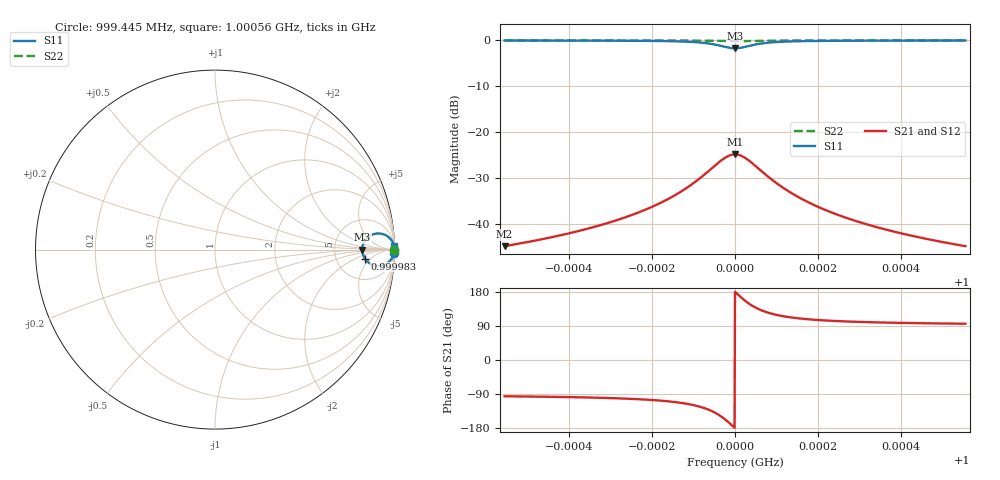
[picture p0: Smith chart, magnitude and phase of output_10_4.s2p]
! File generated for n1 = 10, n2 = 4
! b1 = 0.100000
! b2 = 0.010000
! Q0 = 10000.000000
! f0 = 1000000000.000000
! n = 1001
! rel_span = 10.000000
# Hz S RI R 50
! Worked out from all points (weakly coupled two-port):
!   1001 points, 999.445 MHz to 1.00056 GHz, reference 50 ohm
!   highest |S21| = -24.89 dB at 1 GHz (marker M1); lowest = -44.9 dB at 999.445 MHz (marker M2)
!   lowest |S11| = -1.7 dB at 1 GHz (marker M3), VSWR 10.10, Z = 505 + j0 ohm
!   |S11| at or under -10 dB: nowhere
!   |S22| runs from -0.2 to 0.0 dB; largest |S21 - S12| = 0
!   S11 on the Smith chart (normalised r, x): 999.445 MHz: open; 999.983 MHz: 10, -3; 1.00056 GHz: open
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9.99445e8  0.9982 -0.0178  -0.000564 -0.00564  -0.000564 -0.00564  0.9998 -0.00178
9.995405e8  0.9974 -0.0214  -0.000819 -0.00678  -0.000819 -0.00678  0.9997 -0.00214
9.996304e8  0.996 -0.0265  -0.00126 -0.00837  -0.00126 -0.00837  0.9996 -0.00265
9.997325e8  0.9926 -0.0358  -0.00235 -0.0113  -0.00235 -0.0113  0.9993 -0.00358
9.998157e8  0.985 -0.0498  -0.00474 -0.0157  -0.00474 -0.0157  0.9985 -0.00498
9.99869e8  0.9726 -0.0647  -0.00867 -0.0205  -0.00867 -0.0205  0.9973 -0.00647
9.999156e8  0.9456 -0.0827  -0.0172 -0.0262  -0.0172 -0.0262  0.9946 -0.00827
9.999567e8  0.888 -0.0874  -0.0354 -0.0276  -0.0354 -0.0276  0.9888 -0.00874
9.9997e8  0.8605 -0.0753  -0.0441 -0.0238  -0.0441 -0.0238  0.986 -0.00753
9.999834e8  0.8347 -0.0496  -0.0523 -0.0157  -0.0523 -0.0157  0.9835 -0.00496
1e9  0.8198 0  -0.057 0  -0.057 0  0.982 0
1.00001e9  0.8255 0.0314  -0.0552 0.00993  -0.0552 0.00993  0.9825 0.00314
1.000021e9  0.8426 0.0598  -0.0498 0.0189  -0.0498 0.0189  0.9843 0.00598
1.000049e9  0.8985 0.0894  -0.0321 0.0283  -0.0321 0.0283  0.9898 0.00894
1.000079e9  0.9403 0.0848  -0.0189 0.0268  -0.0189 0.0268  0.994 0.00848
1.000115e9  0.9662 0.0704  -0.0107 0.0223  -0.0107 0.0223  0.9966 0.00704
1.000149e9  0.978 0.059  -0.00696 0.0187  -0.00696 0.0187  0.9978 0.0059
1.000185e9  0.9852 0.0495  -0.00469 0.0157  -0.00469 0.0157  0.9985 0.00495
1.000269e9  0.9926 0.0357  -0.00233 0.0113  -0.00233 0.0113  0.9993 0.00357
1.000371e9  0.996 0.0264  -0.00125 0.00834  -0.00125 0.00834  0.9996 0.00264
1.000461e9  0.9974 0.0214  -0.000816 0.00677  -0.000816 0.00677  0.9997 0.00214
1.000555e9  0.9982 0.0178  -0.000564 0.00564  -0.000564 0.00564  0.9998 0.00178
